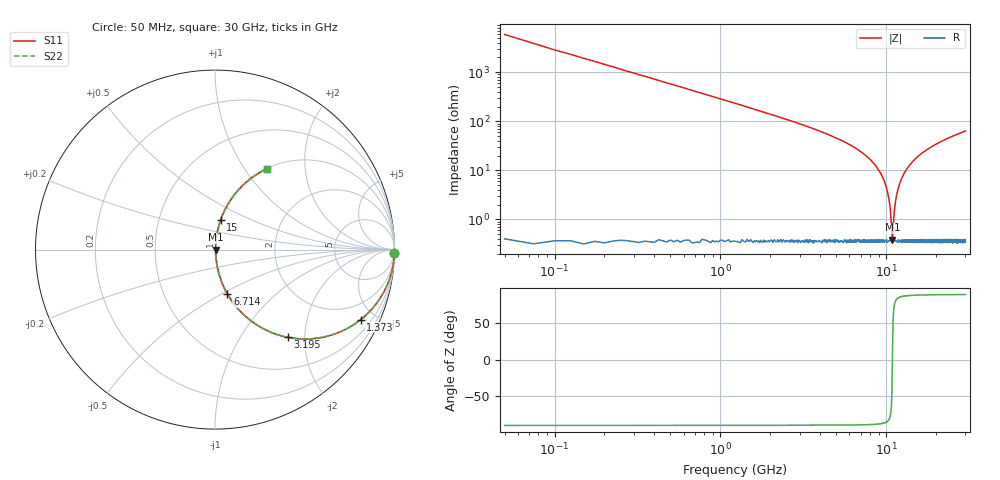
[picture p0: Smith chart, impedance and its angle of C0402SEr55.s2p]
!	AVX Thin Film Operation 	Date: April 2014
!	Description: Accu-P® Series, Thin Film  SMD RF Capacitor
!	Part Number: 04021JR55ZBSTR
# MHZ S MA R 50
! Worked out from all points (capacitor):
!   1201 points, 50 MHz to 30 GHz, reference 50 ohm
!   read as one part in series: C = 550 fF near 199.8 MHz
!   lowest |Z| = 385 mohm at 10.88 GHz (marker M1)
!   series resonance near 10.89 GHz, so ESL is about 390 pH
!   S11 on the Smith chart (normalised r, x): 50 MHz: open; 1.373 GHz: 1.01, -4.15; 3.195 GHz: 1.01, -1.65; 6.714 GHz: 1.01, -0.53; 15 GHz: 1.01, +0.35; 30 GHz: 1.01, +1.27
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50  1 -1.0  0.017 89.0  0.017 89.0  1 -1.0
274.625  0.995 -5.4  0.095 84.6  0.095 84.6  0.995 -5.4
474.292  0.987 -9.3  0.162 80.6  0.162 80.6  0.987 -9.3
848.667  0.959 -16.4  0.283 73.5  0.283 73.5  0.959 -16.4
1372.792  0.9 -25.7  0.434 64.2  0.434 64.2  0.9 -25.7
3194.75  0.636 -50.2  0.769 39.5  0.769 39.5  0.636 -50.2
5041.667  0.41 -65.3  0.909 24.2  0.909 24.2  0.41 -65.3
6713.875  0.257 -74.3  0.963 14.9  0.963 14.9  0.257 -74.3
8785.417  0.114 -81.7  0.99 6.5  0.99 6.5  0.114 -81.7
10058.29  0.042 -82.7  0.995 2.4  0.995 2.4  0.042 -82.7
10482.58  0.021 -78.7  0.996 1.2  0.996 1.2  0.021 -78.7
10782.08  0.006426 -55.4  0.996 0.3  0.996 0.3  0.006426 -55.4
10881.92  0.003643 -6.8  0.996 0.0  0.996 0.0  0.003643 -6.8
10981.75  0.005699 50.4  0.996 -0.3  0.996 -0.3  0.005699 50.4
11356.12  0.022 79.5  0.996 -1.3  0.996 -1.3  0.022 79.5
12005.04  0.052 83.0  0.995 -3.0  0.995 -3.0  0.052 83.0
13178.08  0.101 82.2  0.991 -5.8  0.991 -5.8  0.101 82.2
15000.04  0.17 79.0  0.982 -9.8  0.982 -9.8  0.17 79.0
15025  0.171 79.0  0.982 -9.8  0.982 -9.8  0.171 79.0
20016.67  0.324 70.5  0.943 -18.9  0.943 -18.9  0.324 70.5
25033.29  0.442 63.3  0.894 -26.3  0.894 -26.3  0.442 63.3
30000  0.535 57.3  0.842 -32.3  0.842 -32.3  0.535 57.3
